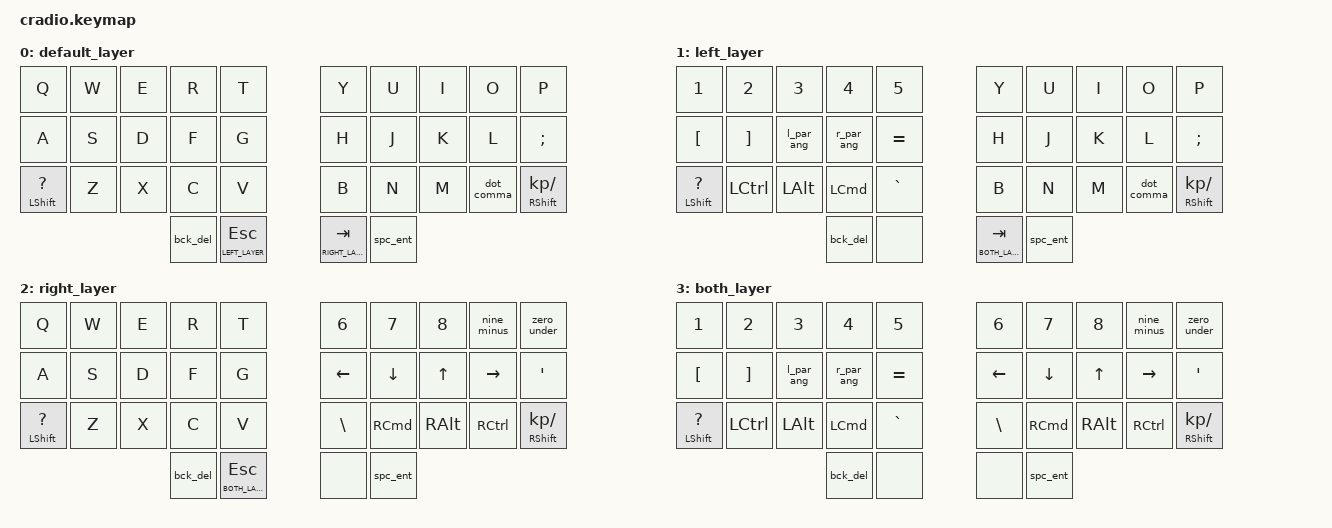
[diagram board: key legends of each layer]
/*
 * Copyright (c) 2020 The ZMK Contributors
 *
 * SPDX-License-Identifier: MIT
 */

#include <behaviors.dtsi>
#include <dt-bindings/zmk/keys.h>

// Layer definitions
    #define BASE 0
    #define LEFT_LAYER 1
    #define RIGHT_LAYER 2
    #define BOTH_LAYER 3
// -----------------

&mt {
   //  flavor = "tap-preferred";
   // tapping_term_ms = <200>;
};

/ {
    behaviors {
        bck_del: backspace_delete {
            compatible = "zmk,behavior-mod-morph";
            label = "BACKSPACE_DELETE";
            #binding-cells = <0>;
            bindings = <&kp BACKSPACE>, <&kp DELETE>;
            mods = <(MOD_LSFT|MOD_RSFT)>;
            keep-mods = <(MOD_RSFT)>;
        };

        spc_ent: space_enter {
            compatible = "zmk,behavior-mod-morph";
            label = "SPACE_ENTER";
            #binding-cells = <0>;
            bindings = <&kp SPACE>, <&kp ENTER>;
            mods = <(MOD_LSFT|MOD_RSFT)>;
            keep-mods = <(MOD_RSFT)>;
        };

        dot_comma: dot_comma {
            compatible = "zmk,behavior-mod-morph";
            label = "DOT_COMMA";
            #binding-cells = <0>;
            bindings = <&kp KP_DOT>, <&kp KP_COMMA>;
            mods = <(MOD_LSFT|MOD_RSFT)>;
            keep-mods = <(MOD_RSFT)>;
        };

        nine_minus: nine_minus {
            compatible = "zmk,behavior-mod-morph";
            label = "N9_MINUS";
            #binding-cells = <0>;
            bindings = <&kp KP_NUMBER_9>, <&kp KP_MINUS>;
            mods = <(MOD_LSFT|MOD_RSFT)>;
            keep-mods = <(MOD_RSFT)>;
        };

        zero_under: zero_under {
            compatible = "zmk,behavior-mod-morph";
            label = "ZERO_UNDER";
            #binding-cells = <0>;
            bindings = <&kp KP_NUMBER_0>, <&kp UNDERSCORE>;
            mods = <(MOD_LSFT|MOD_RSFT)>;
            keep-mods = <(MOD_RSFT)>;
        };

        l_par_ang: left_parens_angle {
            compatible = "zmk,behavior-mod-morph";
            label = "L_PAR_ANG";
            #binding-cells = <0>;
            bindings = <&kp LEFT_PARENTHESIS>, <&kp LESS_THAN>;
            mods = <(MOD_LSFT|MOD_RSFT)>;
            keep-mods = <(MOD_RSFT)>;
        };

        r_par_ang: right_parens_angle {
            compatible = "zmk,behavior-mod-morph";
            label = "R_PAR_ANG";
            #binding-cells = <0>;
            bindings = <&kp RIGHT_PARENTHESIS>, <&kp GREATER_THAN>;
            mods = <(MOD_LSFT|MOD_RSFT)>;
            keep-mods = <(MOD_RSFT)>;
        };

        qmark_slash: question_mark_slash {
            compatible = "zmk,behavior-mod-morph";
            label = "QMARK_SLASH";
            #binding-cells = <0>;
            bindings = <&kp QMARK>, <&kp SLASH>;
            mods = <(MOD_LSFT|MOD_RSFT)>;
            keep-mods = <(MOD_RSFT)>;
        };
    };

    keymap {
        compatible = "zmk,keymap";

        // Base alpha layer
        default_layer {
            bindings = <
            &kp Q            &kp W &kp E &kp R &kp T         &kp Y &kp U &kp I &kp O      &kp P 
            &kp A            &kp S &kp D &kp F &kp G         &kp H &kp J &kp K &kp L      &kp SEMICOLON
            &mt LSHIFT QMARK &kp Z &kp X &kp C &kp V         &kp B &kp N &kp M &dot_comma &mt RSHIFT KP_SLASH
              &bck_del &lt LEFT_LAYER ESCAPE                 &lt RIGHT_LAYER TAB &spc_ent
            >;
        };

        // Numbers and high frequency symbols
        left_layer {
            bindings = <
            &kp N1    &kp N2    &kp N3   &kp N4   &kp N5                 &kp Y &kp U &kp I &kp O      &kp P 
            &kp LBKT  &kp RBKT  &l_par_ang &r_par_ang &kp EQUAL          &kp H &kp J &kp K &kp L      &kp SEMICOLON
            &mt LSHFT QMARK &kp LCTRL &kp LALT &kp LCMD &kp GRAVE        &kp B &kp N &kp M &dot_comma &mt RSHIFT KP_SLASH
                                    &bck_del &none                       &lt BOTH_LAYER TAB  &spc_ent
            >;
        };

        // Main modifiers and arrow keys
        right_layer {
            bindings = <
            &kp Q            &kp W &kp E &kp R &kp T       &kp N6        &kp N7    &kp N8   &nine_minus  &zero_under
            &kp A            &kp S &kp D &kp F &kp G       &kp LEFT      &kp DOWN  &kp UP   &kp RIGHT &kp SINGLE_QUOTE
            &mt LSHFT QMARK &kp Z &kp X &kp C &kp V        &kp BACKSLASH &kp RCMD  &kp RALT &kp RCTRL &mt RSHIFT KP_SLASH
              &bck_del &lt BOTH_LAYER ESCAPE               &none  &spc_ent
            >;
        };

        // holding both thumb keys
        both_layer {
            bindings = <
            &kp N1    &kp N2    &kp N3   &kp N4   &kp N5                   &kp N6        &kp N7    &kp N8   &nine_minus &zero_under
            &kp LBKT  &kp RBKT  &l_par_ang &r_par_ang &kp EQUAL            &kp LEFT      &kp DOWN  &kp UP   &kp RIGHT &kp SINGLE_QUOTE
            &mt LSHFT QMARK &kp LCTRL &kp LALT &kp LCMD &kp GRAVE          &kp BACKSLASH &kp RCMD  &kp RALT &kp RCTRL &mt RSHIFT KP_SLASH
                                                  &bck_del &none           &none &spc_ent
            >;
        };
    };
};
